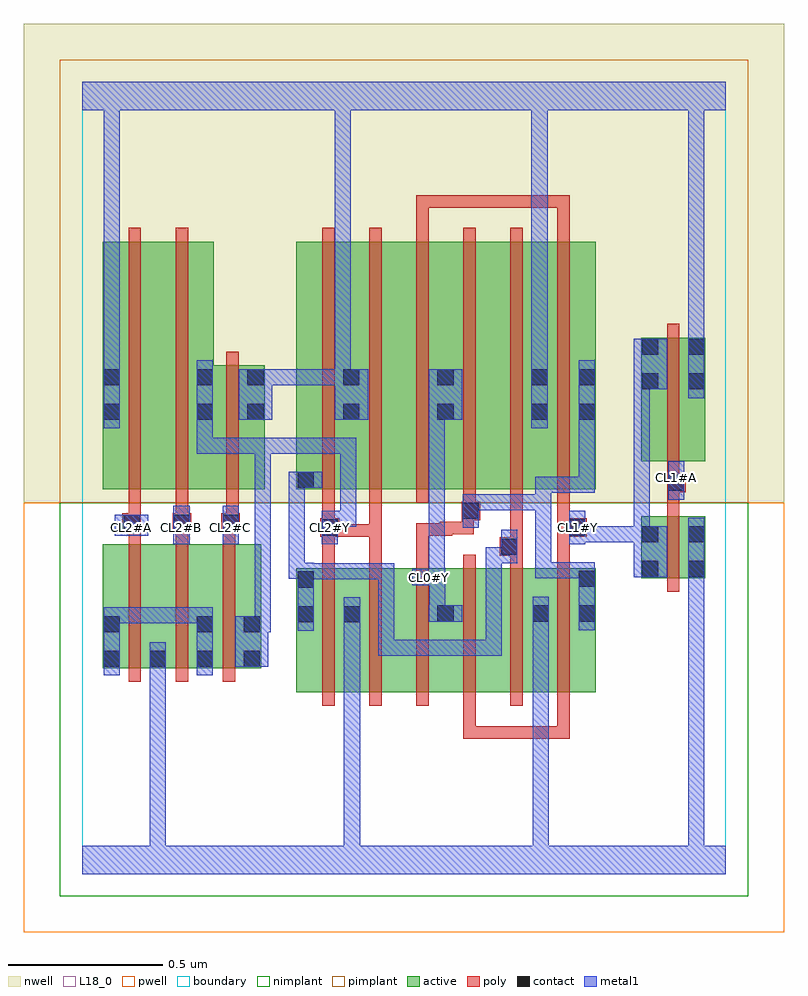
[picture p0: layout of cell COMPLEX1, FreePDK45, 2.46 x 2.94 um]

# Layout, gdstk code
import gdstk
lib = gdstk.Library(unit=1e-6, precision=1e-09)
def R(c, l, rs):  # rectangles x0, y0, x1, y1
    for r in rs: c.add(gdstk.rectangle(r[:2], r[2:], *l))
def A(c, l, x, y, w, h, nx, ny, dx, dy):  # array of equal rectangles
    R(c, l, [(x+i*dx, y+j*dy, x+i*dx+w, y+j*dy+h) for i in range(nx) for j in range(ny)])
active = (1, 0)
pwell = (2, 0)
nwell = (3, 0)
nimplant = (4, 0)
pimplant = (5, 0)
poly = (9, 0)
contact = (10, 0)
metal1 = (11, 0)
L18_0 = (18, 0)
boundary = (235, 0)

complex1 = lib.new_cell('COMPLEX1')
R(complex1, active, [(0.692,0.588,0.902,0.988), (0.842,0.588,1.024,0.988), (1.024,0.588,1.204,0.988), (1.144,0.588,1.328,0.988), (1.328,0.588,1.512,0.988), (1.452,0.588,1.66,0.988), (0.066,0.666,0.274,1.066), (0.066,0.666,0.126,1.066), (0.214,0.666,0.426,1.066), (0.214,0.666,0.274,0.816), (0.366,0.666,0.578,1.066), (0.366,0.666,0.426,0.928), (0.518,0.666,0.578,1.066), (0.692,0.756,0.752,0.988), (0.842,0.756,0.902,0.87), (1.144,0.756,1.204,0.872), (1.452,0.756,1.512,0.916), (1.6,0.756,1.66,0.988), (1.806,0.956,1.866,1.156), (1.806,0.956,2.014,1.156), (1.954,0.956,2.014,1.156), (0.066,1.244,0.126,2.044), (0.066,1.244,0.246,2.044), (0.246,1.244,0.426,2.044), (0.366,1.244,0.59,1.644), (0.692,1.244,0.752,2.044), (0.692,1.244,0.9,2.044), (0.84,1.244,1.024,2.044), (1.024,1.244,1.204,2.044), (1.144,1.244,1.328,2.044), (1.328,1.244,1.508,2.044), (1.448,1.244,1.66,2.044), (1.6,1.244,1.66,2.044), (0.366,1.334,0.426,1.73), (1.806,1.334,2.014,1.734), (1.806,1.334,1.866,1.734), (1.954,1.334,2.014,1.734), (1.448,1.342,1.508,2.044), (0.84,1.35,0.9,2.044), (0.53,1.452,0.59,1.644), (1.144,1.464,1.204,2.044)])
R(complex1, pwell, [(-0.188,-0.188,2.268,1.2)])
R(complex1, nwell, [(-0.188,1.2,2.268,2.748)])
R(complex1, nimplant, [(-0.072,-0.072,2.152,1.2)])
R(complex1, pimplant, [(-0.072,1.2,2.152,2.632)])
A(complex1, poly, 1.324, 0.438, 0.04, 0.04, 3, 1, 0.106, 0)
A(complex1, poly, 0.776, 0.544, 0.04, 0.488, 6, 1, 0.152, 0)
A(complex1, poly, 0.15, 0.622, 0.04, 0.488, 3, 1, 0.152, 0)
A(complex1, poly, 0.15, 1.07, 0.04, 0.076, 3, 1, 0.152, 0)
A(complex1, poly, 0.776, 1.2, 0.04, 0.888, 6, 1, 0.152, 0)
R(complex1, poly, [(1.232,0.438,1.272,0.478), (1.232,0.438,1.272,0.584), (1.232,0.438,1.364,0.478), (1.324,0.438,1.47,0.478), (1.43,0.438,1.576,0.478), (1.536,0.438,1.576,0.478), (1.536,0.438,1.576,0.478), (1.536,0.438,1.576,0.584), (1.89,0.912,1.93,1.2), (0.776,0.992,0.816,1.13), (0.928,0.992,0.968,1.13), (1.08,0.992,1.12,1.134), (1.384,0.992,1.424,1.068), (1.536,0.992,1.576,1.13), (1.35,1.028,1.424,1.088), (1.384,1.048,1.424,1.088), (1.384,1.048,1.424,1.088), (1.384,1.048,1.424,1.24), (0.77,1.09,0.83,1.15), (0.776,1.09,0.816,1.13), (0.776,1.09,0.816,1.13), (0.776,1.09,0.968,1.13), (0.928,1.09,0.968,1.13), (0.928,1.09,0.968,1.13), (0.928,1.09,0.968,1.13), (0.928,1.09,0.968,1.13), (0.928,1.09,0.968,1.13), (0.928,1.09,0.968,1.24), (1.536,1.09,1.63,1.15), (1.08,1.094,1.12,1.134), (1.08,1.094,1.196,1.134), (1.156,1.094,1.196,1.138), (1.156,1.098,1.266,1.138), (1.226,1.098,1.266,1.138), (1.226,1.098,1.266,1.184), (0.13,1.106,0.19,1.166), (0.292,1.106,0.352,1.166), (0.302,1.106,0.342,1.146), (0.302,1.106,0.342,1.146), (0.45,1.106,0.51,1.166), (0.454,1.106,0.494,1.146), (0.454,1.106,0.494,1.146), (0.776,1.11,0.816,1.24), (1.536,1.11,1.576,1.15), (1.536,1.11,1.576,1.15), (1.536,1.11,1.576,1.24), (0.15,1.126,0.19,1.166), (0.15,1.126,0.19,1.166), (0.15,1.126,0.19,1.24), (0.302,1.126,0.342,1.24), (0.466,1.126,0.506,1.24), (1.226,1.144,1.286,1.204), (1.89,1.16,1.93,1.274), (1.232,1.164,1.272,1.24), (0.15,1.2,0.19,2.088), (0.302,1.2,0.342,2.088), (0.466,1.2,0.506,1.688), (1.89,1.234,1.93,1.274), (1.89,1.234,1.93,1.274), (1.89,1.234,1.95,1.294), (1.89,1.254,1.93,1.33), (1.89,1.29,1.93,1.778), (1.08,2.048,1.12,2.194), (1.536,2.048,1.576,2.194), (1.08,2.154,1.12,2.194), (1.08,2.154,1.12,2.194), (1.08,2.154,1.12,2.194), (1.08,2.154,1.23,2.194), (1.19,2.154,1.23,2.194), (1.19,2.154,1.364,2.194), (1.324,2.154,1.364,2.194), (1.324,2.154,1.47,2.194), (1.43,2.154,1.47,2.194), (1.43,2.154,1.47,2.194), (1.43,2.154,1.47,2.194), (1.43,2.154,1.576,2.194), (1.536,2.154,1.576,2.194)])
A(complex1, contact, 0.218, 0.67, 0.052, 0.052, 3, 1, 0.152, 0)
A(complex1, contact, 0.844, 1.468, 0.052, 0.052, 3, 2, 0.304, 0.112)
R(complex1, contact, [(0.07,0.67,0.122,0.722), (0.07,0.782,0.122,0.834), (0.37,0.782,0.422,0.834), (0.522,0.782,0.574,0.834), (0.696,0.814,0.748,0.866), (0.846,0.814,0.898,0.866), (1.148,0.816,1.2,0.868), (1.456,0.816,1.508,0.868), (1.604,0.816,1.656,0.868), (0.696,0.926,0.748,0.978), (1.604,0.928,1.656,0.98), (1.81,0.96,1.862,1.012), (1.958,0.96,2.01,1.012), (1.354,1.032,1.406,1.084), (1.81,1.072,1.862,1.124), (1.958,1.072,2.01,1.124), (0.774,1.094,0.826,1.146), (1.574,1.094,1.626,1.146), (0.134,1.11,0.186,1.162), (0.296,1.11,0.348,1.162), (0.454,1.11,0.506,1.162), (1.23,1.148,1.282,1.2), (1.894,1.238,1.946,1.29), (0.696,1.248,0.748,1.3), (0.07,1.468,0.122,1.52), (0.37,1.468,0.422,1.52), (0.534,1.468,0.586,1.52), (1.604,1.468,1.656,1.52), (1.81,1.566,1.862,1.618), (1.958,1.566,2.01,1.618), (0.07,1.58,0.122,1.632), (0.37,1.58,0.422,1.632), (0.534,1.58,0.586,1.632), (1.604,1.58,1.656,1.632), (1.81,1.678,1.862,1.73), (1.958,1.678,2.01,1.73)])
R(complex1, metal1, [(0,0,2.08,0.092), (0.218,0.04,0.27,0.092), (0.218,0.04,0.27,0.092), (0.218,0.04,0.27,0.092), (0.218,0.04,0.27,0.092), (0.218,0.04,0.27,0.092), (0.218,0.04,0.27,0.092), (0.218,0.04,0.27,0.092), (0.218,0.04,0.27,0.092), (0.218,0.04,0.27,0.694), (0.846,0.04,0.898,0.092), (0.846,0.04,0.898,0.092), (0.846,0.04,0.898,0.838), (1.456,0.04,1.508,0.092), (1.456,0.04,1.508,0.092), (1.456,0.04,1.508,0.092), (1.456,0.04,1.508,0.092), (1.456,0.04,1.508,0.092), (1.456,0.04,1.508,0.092), (1.456,0.04,1.508,0.092), (1.456,0.04,1.508,0.092), (1.456,0.04,1.508,0.092), (1.456,0.04,1.508,0.092), (1.456,0.04,1.508,0.092), (1.456,0.04,1.508,0.092), (1.456,0.04,1.508,0.84), (1.958,0.04,2.01,0.092), (1.958,0.04,2.01,0.092), (1.958,0.04,2.01,0.092), (1.958,0.04,2.01,0.092), (1.958,0.04,2.01,0.092), (1.958,0.04,2.01,0.092), (1.958,0.04,2.01,0.092), (1.958,0.04,2.01,0.092), (1.958,0.04,2.01,0.984), (0.07,0.642,0.122,0.862), (0.218,0.642,0.27,0.694), (0.218,0.642,0.27,0.694), (0.218,0.642,0.27,0.694), (0.218,0.642,0.27,0.694), (0.218,0.642,0.27,0.75), (0.37,0.642,0.422,0.862), (0.494,0.67,0.602,0.834), (0.956,0.706,1.008,0.758), (0.956,0.706,1.172,0.758), (0.956,0.706,1.008,1.004), (1.12,0.706,1.172,0.758), (1.12,0.706,1.172,0.758), (1.12,0.706,1.172,0.758), (1.12,0.706,1.296,0.758), (1.244,0.706,1.296,0.758), (1.244,0.706,1.356,0.758), (1.304,0.706,1.356,0.758), (1.304,0.706,1.356,0.758), (1.304,0.706,1.356,0.758), (1.304,0.706,1.356,1.056), (0.55,0.782,0.602,0.834), (0.55,0.782,0.61,0.834), (0.558,0.782,0.61,0.834), (0.558,0.782,0.61,0.834), (0.558,0.782,0.61,1.41), (0.696,0.786,0.748,1.006), (0.846,0.786,0.898,0.838), (0.846,0.786,0.898,0.838), (0.846,0.786,0.898,0.838), (0.846,0.786,0.898,0.838), (0.846,0.786,0.898,0.838), (0.846,0.786,0.898,0.838), (0.846,0.786,0.898,0.838), (0.846,0.786,0.898,0.838), (0.846,0.786,0.898,0.838), (0.846,0.786,0.898,0.838), (0.846,0.786,0.898,0.894), (1.456,0.788,1.508,0.896), (1.604,0.788,1.656,1.008), (0.07,0.81,0.122,0.862), (0.07,0.81,0.122,0.862), (0.07,0.81,0.232,0.862), (0.18,0.81,0.232,0.862), (0.18,0.81,0.232,0.862), (0.18,0.81,0.232,0.862), (0.18,0.81,0.422,0.862), (1.12,0.816,1.228,0.868), (1.122,0.816,1.174,0.986), (1.958,0.932,2.01,0.984), (1.958,0.932,2.01,0.984), (1.958,0.932,2.01,0.984), (1.958,0.932,2.01,0.984), (1.958,0.932,2.01,0.984), (1.958,0.932,2.01,0.984), (1.958,0.932,2.01,0.984), (1.958,0.932,2.01,0.984), (1.958,0.932,2.01,1.152), (1.066,0.934,1.174,0.986), (1.12,0.934,1.172,0.986), (1.12,0.934,1.172,0.986), (1.12,0.934,1.172,1.52), (0.696,0.952,0.898,1.004), (0.846,0.952,0.898,1.004), (0.846,0.952,0.898,1.004), (0.846,0.952,0.898,1.004), (0.846,0.952,1.008,1.004), (0.956,0.952,1.008,1.004), (0.956,0.952,1.008,1.004), (0.956,0.952,1.008,1.004), (0.668,0.954,0.72,1.3), (0.668,0.954,0.748,1.006), (0.696,0.954,0.748,1.006), (1.464,0.956,1.516,1.008), (1.464,0.956,1.656,1.008), (1.464,0.956,1.516,1.228), (1.604,0.956,1.656,1.008), (1.604,0.956,1.656,1.008), (1.782,0.96,1.89,1.124), (1.304,1.004,1.356,1.056), (1.304,1.004,1.406,1.056), (1.354,1.004,1.406,1.112), (0.294,1.066,0.348,1.19), (0.454,1.066,0.506,1.19), (0.774,1.066,0.826,1.174), (1.574,1.066,1.626,1.174), (1.574,1.072,1.834,1.124), (1.782,1.072,1.834,1.124), (1.782,1.072,1.834,1.124), (1.782,1.072,1.834,1.124), (1.782,1.072,1.834,1.124), (1.782,1.072,1.834,1.124), (1.782,1.072,1.834,1.124), (1.782,1.072,1.834,1.618), (0.106,1.094,0.214,1.162), (1.23,1.12,1.282,1.228), (0.774,1.122,0.886,1.174), (0.834,1.122,0.886,1.174), (0.834,1.122,0.886,1.174), (0.834,1.122,0.886,1.174), (0.834,1.122,0.886,1.41), (1.23,1.176,1.282,1.228), (1.23,1.176,1.282,1.228), (1.23,1.176,1.516,1.228), (1.464,1.176,1.516,1.228), (1.464,1.176,1.516,1.228), (1.464,1.176,1.516,1.228), (1.464,1.176,1.516,1.228), (1.464,1.176,1.516,1.284), (1.894,1.21,1.946,1.334), (1.464,1.232,1.656,1.284), (1.604,1.232,1.656,1.284), (1.604,1.232,1.656,1.284), (1.604,1.232,1.656,1.284), (1.604,1.232,1.656,1.492), (0.668,1.248,0.72,1.3), (0.668,1.248,0.72,1.3), (0.668,1.248,0.776,1.3), (0.37,1.358,0.61,1.41), (0.37,1.358,0.422,1.492), (0.558,1.358,0.61,1.41), (0.558,1.358,0.61,1.41), (0.558,1.358,0.61,1.41), (0.558,1.358,0.758,1.41), (0.706,1.358,0.758,1.41), (0.706,1.358,0.758,1.41), (0.706,1.358,0.758,1.41), (0.706,1.358,0.886,1.41), (0.834,1.358,0.886,1.41), (0.07,1.44,0.122,1.66), (0.37,1.44,0.422,1.492), (0.37,1.44,0.422,1.66), (1.452,1.44,1.504,1.66), (1.604,1.44,1.656,1.66), (0.506,1.468,0.614,1.632), (0.816,1.468,0.924,1.632), (1.12,1.468,1.228,1.632), (1.958,1.538,2.01,1.758), (1.782,1.566,1.89,1.73), (0.562,1.58,0.614,1.632), (0.562,1.58,0.614,1.632), (0.562,1.58,0.614,1.632), (0.562,1.58,0.614,1.632), (0.562,1.58,0.614,1.632), (0.562,1.58,0.614,1.632), (0.562,1.58,0.614,1.632), (0.562,1.58,0.616,1.632), (0.564,1.58,0.616,1.632), (0.564,1.58,0.616,1.632), (0.564,1.58,0.868,1.632), (0.816,1.58,0.868,1.632), (0.816,1.58,0.868,1.632), (0.816,1.58,0.868,2.52), (0.07,1.608,0.122,1.66), (0.07,1.608,0.122,1.66), (0.07,1.608,0.122,1.66), (0.07,1.608,0.122,1.66), (0.07,1.608,0.122,1.66), (0.07,1.608,0.122,1.66), (0.07,1.608,0.122,1.66), (0.07,1.608,0.122,1.66), (0.07,1.608,0.122,2.52), (1.452,1.608,1.504,1.66), (1.452,1.608,1.504,1.66), (1.452,1.608,1.504,2.52), (1.958,1.706,2.01,2.52), (0,2.468,2.08,2.56), (0.816,2.468,0.868,2.52), (0.816,2.468,0.868,2.52), (0.816,2.468,0.868,2.52), (0.816,2.468,0.868,2.52), (0.816,2.468,0.868,2.52), (0.816,2.468,0.868,2.52), (0.816,2.468,0.868,2.52), (0.816,2.468,0.868,2.52), (1.452,2.468,1.504,2.52), (1.452,2.468,1.504,2.52), (1.452,2.468,1.504,2.52), (1.452,2.468,1.504,2.52), (1.452,2.468,1.504,2.52), (1.452,2.468,1.504,2.52), (1.958,2.468,2.01,2.52), (1.958,2.468,2.01,2.52), (1.958,2.468,2.01,2.52), (1.958,2.468,2.01,2.52), (1.958,2.468,2.01,2.52), (1.958,2.468,2.01,2.52), (1.958,2.468,2.01,2.52), (1.958,2.468,2.01,2.52), (1.958,2.468,2.01,2.52), (1.958,2.468,2.01,2.52), (1.958,2.468,2.01,2.52), (1.958,2.468,2.01,2.52), (1.958,2.468,2.01,2.52), (1.958,2.468,2.01,2.52), (1.958,2.468,2.01,2.52), (1.958,2.468,2.01,2.52)])
A(complex1, L18_0, 0.134, 1.094, 0.052, 0.052, 3, 1, 0.16, 0)
R(complex1, L18_0, [(0,0,2.08,0.092), (0.218,0.04,0.27,0.092), (0.218,0.04,0.27,0.092), (0.218,0.04,0.27,0.092), (0.218,0.04,0.27,0.092), (0.218,0.04,0.27,0.092), (0.218,0.04,0.27,0.092), (0.218,0.04,0.27,0.092), (0.218,0.04,0.27,0.092), (0.218,0.04,0.27,0.694), (0.846,0.04,0.898,0.092), (0.846,0.04,0.898,0.092), (0.846,0.04,0.898,0.838), (1.456,0.04,1.508,0.092), (1.456,0.04,1.508,0.092), (1.456,0.04,1.508,0.092), (1.456,0.04,1.508,0.092), (1.456,0.04,1.508,0.092), (1.456,0.04,1.508,0.092), (1.456,0.04,1.508,0.092), (1.456,0.04,1.508,0.092), (1.456,0.04,1.508,0.092), (1.456,0.04,1.508,0.092), (1.456,0.04,1.508,0.092), (1.456,0.04,1.508,0.092), (1.456,0.04,1.508,0.84), (1.958,0.04,2.01,0.092), (1.958,0.04,2.01,0.092), (1.958,0.04,2.01,0.092), (1.958,0.04,2.01,0.092), (1.958,0.04,2.01,0.092), (1.958,0.04,2.01,0.092), (1.958,0.04,2.01,0.092), (1.958,0.04,2.01,0.092), (1.958,0.04,2.01,0.984), (0.218,0.642,0.27,0.694), (0.218,0.642,0.27,0.694), (0.218,0.642,0.27,0.694), (0.218,0.642,0.27,0.694), (0.218,0.642,0.27,0.75), (0.494,0.67,0.602,0.834), (0.55,0.782,0.602,0.834), (0.55,0.782,0.61,0.834), (0.558,0.782,0.61,0.834), (0.558,0.782,0.61,0.834), (0.558,0.782,0.61,1.41), (0.846,0.786,0.898,0.838), (0.846,0.786,0.898,0.838), (0.846,0.786,0.898,0.838), (0.846,0.786,0.898,0.838), (0.846,0.786,0.898,0.838), (0.846,0.786,0.898,0.838), (0.846,0.786,0.898,0.838), (0.846,0.786,0.898,0.838), (0.846,0.786,0.898,0.838), (0.846,0.786,0.898,0.838), (0.846,0.786,0.898,0.894), (1.456,0.788,1.508,0.896), (1.12,0.816,1.228,0.868), (1.122,0.816,1.174,0.986), (1.958,0.932,2.01,1.152), (1.958,0.932,2.01,0.984), (1.958,0.932,2.01,0.984), (1.958,0.932,2.01,0.984), (1.958,0.932,2.01,0.984), (1.958,0.932,2.01,0.984), (1.958,0.932,2.01,0.984), (1.958,0.932,2.01,0.984), (1.958,0.932,2.01,0.984), (1.066,0.934,1.174,0.986), (1.094,0.934,1.146,0.986), (1.12,0.934,1.172,0.986), (1.12,0.934,1.172,0.986), (1.12,0.934,1.172,1.52), (1.782,0.96,1.89,1.124), (0.294,1.066,0.348,1.19), (0.454,1.066,0.506,1.19), (0.774,1.066,0.826,1.174), (1.574,1.066,1.626,1.174), (1.574,1.072,1.834,1.124), (1.782,1.072,1.834,1.124), (1.782,1.072,1.834,1.124), (1.782,1.072,1.834,1.124), (1.782,1.072,1.834,1.124), (1.782,1.072,1.834,1.124), (1.782,1.072,1.834,1.124), (1.782,1.072,1.834,1.618), (0.106,1.094,0.214,1.162), (0.774,1.094,0.826,1.146), (1.574,1.094,1.626,1.146), (0.774,1.122,0.886,1.174), (0.834,1.122,0.886,1.174), (0.834,1.122,0.886,1.174), (0.834,1.122,0.886,1.174), (0.834,1.122,0.886,1.41), (1.894,1.21,1.946,1.334), (1.894,1.254,1.946,1.306), (0.37,1.358,0.422,1.492), (0.37,1.358,0.61,1.41), (0.558,1.358,0.61,1.41), (0.558,1.358,0.61,1.41), (0.558,1.358,0.61,1.41), (0.558,1.358,0.758,1.41), (0.706,1.358,0.758,1.41), (0.706,1.358,0.758,1.41), (0.706,1.358,0.758,1.41), (0.706,1.358,0.886,1.41), (0.834,1.358,0.886,1.41), (0.07,1.44,0.122,1.66), (0.37,1.44,0.422,1.66), (0.37,1.44,0.422,1.492), (1.452,1.44,1.504,1.66), (0.506,1.468,0.614,1.632), (0.816,1.468,0.924,1.632), (1.12,1.468,1.228,1.632), (1.958,1.538,2.01,1.758), (1.782,1.566,1.89,1.73), (0.562,1.58,0.614,1.632), (0.562,1.58,0.614,1.632), (0.562,1.58,0.614,1.632), (0.562,1.58,0.614,1.632), (0.562,1.58,0.614,1.632), (0.562,1.58,0.614,1.632), (0.562,1.58,0.614,1.632), (0.562,1.58,0.616,1.632), (0.564,1.58,0.616,1.632), (0.564,1.58,0.616,1.632), (0.564,1.58,0.868,1.632), (0.816,1.58,0.868,1.632), (0.816,1.58,0.868,1.632), (0.816,1.58,0.868,2.52), (0.07,1.608,0.122,1.66), (0.07,1.608,0.122,1.66), (0.07,1.608,0.122,1.66), (0.07,1.608,0.122,1.66), (0.07,1.608,0.122,1.66), (0.07,1.608,0.122,1.66), (0.07,1.608,0.122,1.66), (0.07,1.608,0.122,1.66), (0.07,1.608,0.122,2.52), (1.452,1.608,1.504,1.66), (1.452,1.608,1.504,1.66), (1.452,1.608,1.504,2.52), (1.958,1.706,2.01,2.52), (0,2.468,2.08,2.56), (0.816,2.468,0.868,2.52), (0.816,2.468,0.868,2.52), (0.816,2.468,0.868,2.52), (0.816,2.468,0.868,2.52), (0.816,2.468,0.868,2.52), (0.816,2.468,0.868,2.52), (0.816,2.468,0.868,2.52), (0.816,2.468,0.868,2.52), (1.452,2.468,1.504,2.52), (1.452,2.468,1.504,2.52), (1.452,2.468,1.504,2.52), (1.452,2.468,1.504,2.52), (1.452,2.468,1.504,2.52), (1.452,2.468,1.504,2.52), (1.958,2.468,2.01,2.52), (1.958,2.468,2.01,2.52), (1.958,2.468,2.01,2.52), (1.958,2.468,2.01,2.52), (1.958,2.468,2.01,2.52), (1.958,2.468,2.01,2.52), (1.958,2.468,2.01,2.52), (1.958,2.468,2.01,2.52), (1.958,2.468,2.01,2.52), (1.958,2.468,2.01,2.52), (1.958,2.468,2.01,2.52), (1.958,2.468,2.01,2.52), (1.958,2.468,2.01,2.52), (1.958,2.468,2.01,2.52), (1.958,2.468,2.01,2.52), (1.958,2.468,2.01,2.52)])
R(complex1, boundary, [(0,0,2.08,2.56)])
complex1.add(gdstk.Label('CL0#Y', (1.12,0.96), layer=11, texttype=0))
complex1.add(gdstk.Label('CL1#A', (1.92,1.28), layer=11, texttype=0))
complex1.add(gdstk.Label('CL1#Y', (1.6,1.12), layer=11, texttype=0))
complex1.add(gdstk.Label('CL2#A', (0.16,1.12), layer=11, texttype=0))
complex1.add(gdstk.Label('CL2#B', (0.32,1.12), layer=11, texttype=0))
complex1.add(gdstk.Label('CL2#C', (0.48,1.12), layer=11, texttype=0))
complex1.add(gdstk.Label('CL2#Y', (0.8,1.12), layer=11, texttype=0))

lib.write_gds('COMPLEX1.gds')
